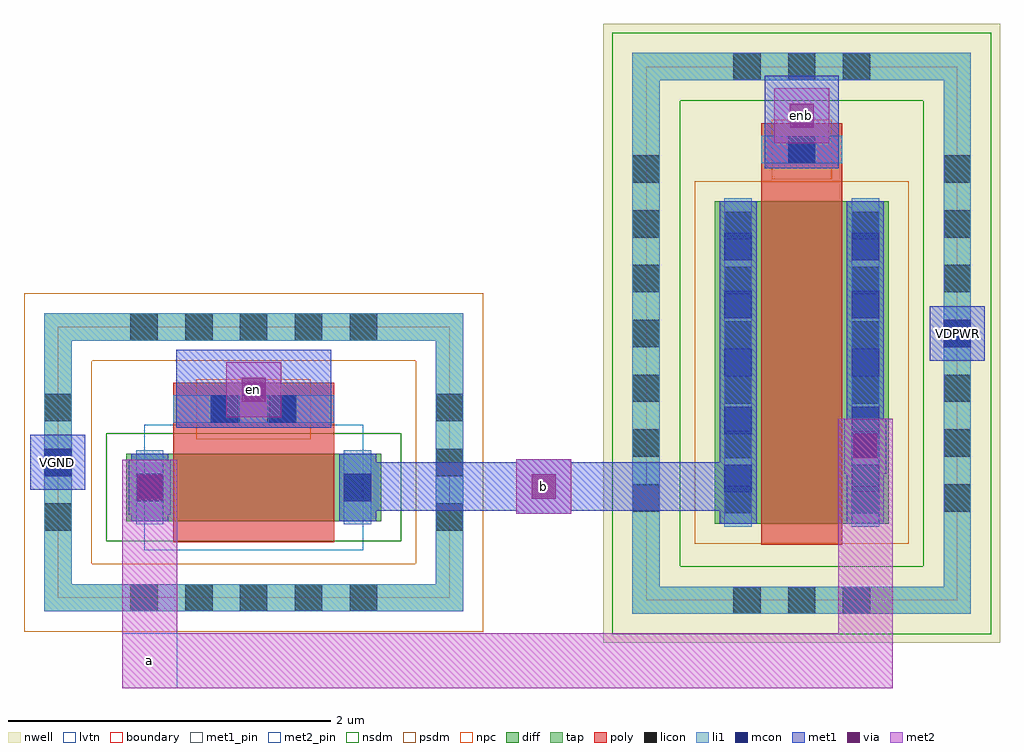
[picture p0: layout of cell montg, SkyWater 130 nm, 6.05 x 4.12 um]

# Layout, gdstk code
import gdstk
lib = gdstk.Library(unit=1e-6, precision=1e-09)
def R(c, l, rs):  # rectangles x0, y0, x1, y1
    for r in rs: c.add(gdstk.rectangle(r[:2], r[2:], *l))
def A(c, l, x, y, w, h, nx, ny, dx, dy):  # array of equal rectangles
    R(c, l, [(x+i*dx, y+j*dy, x+i*dx+w, y+j*dy+h) for i in range(nx) for j in range(ny)])
nwell = (64, 20)
diff = (65, 20)
tap = (65, 44)
poly = (66, 20)
licon = (66, 44)
li1 = (67, 20)
mcon = (67, 44)
met1_pin = (68, 16)
met1 = (68, 20)
via = (68, 44)
met2_pin = (69, 16)
met2 = (69, 20)
nsdm = (93, 44)
psdm = (94, 20)
npc = (95, 20)
lvtn = (125, 44)
boundary = (235, 4)

sky130_fd_pr__pfet_01v8_ = lib.new_cell('sky130_fd_pr__pfet_01v8_WBHNPA')
R(sky130_fd_pr__pfet_01v8_, nwell, [(-1.23,-1.92,1.23,1.92)])
R(sky130_fd_pr__pfet_01v8_, diff, [(-0.54,-1.18,0.54,0.82)])
R(sky130_fd_pr__pfet_01v8_, tap, [(-1.05,-1.74,1.05,-1.57), (-1.05,-1.57,-0.88,1.57), (0.88,-1.57,1.05,1.57), (-1.05,1.57,1.05,1.74)])
R(sky130_fd_pr__pfet_01v8_, poly, [(-0.25,-1.31,0.25,1.305)])
A(sky130_fd_pr__pfet_01v8_, licon, -0.425, -1.74, 0.17, 0.17, 3, 2, 0.34, 3.31)
A(sky130_fd_pr__pfet_01v8_, licon, -0.48, -1.115, 0.17, 0.17, 1, 6, 0, 0.34)
A(sky130_fd_pr__pfet_01v8_, licon, 0.31, -1.115, 0.17, 0.17, 1, 6, 0, 0.34)
A(sky130_fd_pr__pfet_01v8_, licon, -1.05, -1.105, 0.17, 0.17, 1, 7, 0, 0.34)
A(sky130_fd_pr__pfet_01v8_, licon, 0.88, -1.105, 0.17, 0.17, 1, 7, 0, 0.34)
R(sky130_fd_pr__pfet_01v8_, licon, [(-0.085,1.055,0.085,1.225)])
R(sky130_fd_pr__pfet_01v8_, li1, [(-1.05,-1.74,1.05,-1.57), (-1.05,-1.57,-0.88,1.57), (0.88,-1.57,1.05,1.57), (-0.48,-1.2,-0.31,0.84), (0.31,-1.2,0.48,0.84), (-0.25,1.055,0.25,1.225), (-1.05,1.57,1.05,1.74)])
A(sky130_fd_pr__pfet_01v8_, mcon, -0.48, -0.985, 0.17, 0.17, 1, 5, 0, 0.36)
A(sky130_fd_pr__pfet_01v8_, mcon, 0.31, -0.985, 0.17, 0.17, 1, 5, 0, 0.36)
R(sky130_fd_pr__pfet_01v8_, mcon, [(-0.085,1.055,0.085,1.225)])
R(sky130_fd_pr__pfet_01v8_, met1, [(-0.51,-1.18,-0.28,0.82), (0.28,-1.18,0.51,0.82), (-0.23,1.025,0.23,1.255)])
R(sky130_fd_pr__pfet_01v8_, nsdm, [(-1.175,-1.865,1.175,-1.445), (-1.175,-1.445,-0.755,1.445), (0.755,-1.445,1.175,1.445), (-1.175,1.445,1.175,1.865)])
R(sky130_fd_pr__pfet_01v8_, psdm, [(-0.665,-1.305,0.665,0.945)])
R(sky130_fd_pr__pfet_01v8_, npc, [(-0.185,0.955,0.185,1.325)])
R(sky130_fd_pr__pfet_01v8_, boundary, [(-0.965,-1.655,0.965,1.655)])
sky130_fd_pr__pfet_01v8_.add(gdstk.Label('G', (0,1.14), layer=67, texttype=5))
sky130_fd_pr__pfet_01v8_.add(gdstk.Label('S', (0.395,-0.18), layer=67, texttype=5))
sky130_fd_pr__pfet_01v8_.add(gdstk.Label('D', (-0.395,-0.18), layer=67, texttype=5))
sky130_fd_pr__pfet_01v8_.add(gdstk.Label('B', (0,-1.655), layer=67, texttype=5))

sky130_fd_pr__nfet_01v8_ = lib.new_cell('sky130_fd_pr__nfet_01v8_lvt_9XTU62')
R(sky130_fd_pr__nfet_01v8_, diff, [(-0.79,-0.365,0.79,0.055)])
R(sky130_fd_pr__nfet_01v8_, tap, [(-1.3,-0.925,1.3,-0.755), (-1.3,-0.755,-1.13,0.755), (1.13,-0.755,1.3,0.755), (-1.3,0.755,1.3,0.925)])
R(sky130_fd_pr__nfet_01v8_, poly, [(-0.5,-0.495,0.5,0.495)])
A(sky130_fd_pr__nfet_01v8_, licon, -0.765, -0.925, 0.17, 0.17, 5, 2, 0.34, 1.68)
A(sky130_fd_pr__nfet_01v8_, licon, -1.3, -0.425, 0.17, 0.17, 1, 3, 0, 0.34)
A(sky130_fd_pr__nfet_01v8_, licon, 1.13, -0.425, 0.17, 0.17, 1, 3, 0, 0.34)
R(sky130_fd_pr__nfet_01v8_, licon, [(-0.73,-0.24,-0.56,-0.07), (0.56,-0.24,0.73,-0.07), (-0.255,0.245,-0.085,0.415), (0.085,0.245,0.255,0.415)])
R(sky130_fd_pr__nfet_01v8_, li1, [(-1.3,-0.925,1.3,-0.755), (-1.3,-0.755,-1.13,0.755), (1.13,-0.755,1.3,0.755), (-0.73,-0.385,-0.56,0.075), (0.56,-0.385,0.73,0.075), (-0.5,0.245,0.5,0.415), (-1.3,0.755,1.3,0.925)])
R(sky130_fd_pr__nfet_01v8_, mcon, [(-0.73,-0.24,-0.56,-0.07), (0.56,-0.24,0.73,-0.07), (-0.265,0.245,-0.095,0.415), (0.095,0.245,0.265,0.415)])
R(sky130_fd_pr__nfet_01v8_, met1, [(-0.76,-0.365,-0.53,0.055), (0.53,-0.365,0.76,0.055), (-0.48,0.215,0.48,0.445)])
R(sky130_fd_pr__nfet_01v8_, nsdm, [(-0.915,-0.49,0.915,0.18)])
R(sky130_fd_pr__nfet_01v8_, psdm, [(-1.425,-1.05,1.425,-0.63), (-1.425,-0.63,-1.005,0.63), (1.005,-0.63,1.425,0.63), (-1.425,0.63,1.425,1.05)])
R(sky130_fd_pr__nfet_01v8_, npc, [(-0.355,0.145,0.355,0.515)])
R(sky130_fd_pr__nfet_01v8_, lvtn, [(-0.68,-0.545,0.68,0.235)])
R(sky130_fd_pr__nfet_01v8_, boundary, [(-1.215,-0.84,1.215,0.84)])
sky130_fd_pr__nfet_01v8_.add(gdstk.Label('G', (0,0.33), layer=67, texttype=5))
sky130_fd_pr__nfet_01v8_.add(gdstk.Label('S', (0.645,-0.155), layer=67, texttype=5))
sky130_fd_pr__nfet_01v8_.add(gdstk.Label('D', (-0.645,-0.155), layer=67, texttype=5))
sky130_fd_pr__nfet_01v8_.add(gdstk.Label('B', (0,-0.84), layer=67, texttype=5))

montg = lib.new_cell('montg')
R(montg, li1, [(0.3,1.315,0.47,1.485), (5.88,2.115,6.05,2.285)])
R(montg, mcon, [(0.3,1.315,0.47,1.485), (5.88,2.115,6.05,2.285)])
R(montg, met1_pin, [(0.215,1.23,0.555,1.57), (5.795,2.03,6.135,2.37)])
R(montg, met1, [(0.825,1.075,1.085,1.415), (3.23,1.08,3.57,1.1), (2.13,1.1,4.72,1.4), (0.215,1.23,0.555,1.57), (5.265,1.33,5.525,1.67), (3.23,1.4,3.57,1.42), (1.12,1.615,2.08,2.1), (5.795,2.03,6.135,2.37), (4.77,3.225,5.23,3.8)])
R(montg, via, [(0.88,1.17,1.03,1.32), (3.325,1.175,3.475,1.325), (5.32,1.425,5.47,1.575), (1.525,1.775,1.675,1.925), (4.925,3.475,5.075,3.625)])
R(montg, met2_pin, [(0.785,0,1.125,0.34), (3.23,1.08,3.57,1.42), (1.43,1.68,1.77,2.02), (4.83,3.38,5.17,3.72)])
R(montg, met2, [(0.785,0,5.565,0.34), (0.785,0.34,1.125,1.415), (5.225,0.34,5.565,1.67), (3.23,1.08,3.57,1.42), (1.43,1.68,1.77,2.02), (4.83,3.38,5.17,3.72)])
montg.add(gdstk.Reference(sky130_fd_pr__pfet_01v8_, (5,2.2)))
montg.add(gdstk.Reference(sky130_fd_pr__nfet_01v8_, (1.6,1.4)))
montg.add(gdstk.Label('enb', (5,3.55), layer=69, texttype=5))
montg.add(gdstk.Label('en', (1.6,1.85), layer=69, texttype=5))
montg.add(gdstk.Label('b', (3.4,1.25), layer=69, texttype=5))
montg.add(gdstk.Label('a', (0.955,0.17), layer=69, texttype=5))
montg.add(gdstk.Label('VGND', (0.385,1.4), layer=68, texttype=5))
montg.add(gdstk.Label('VDPWR', (5.965,2.2), layer=68, texttype=5))

lib.write_gds('montg.gds')
